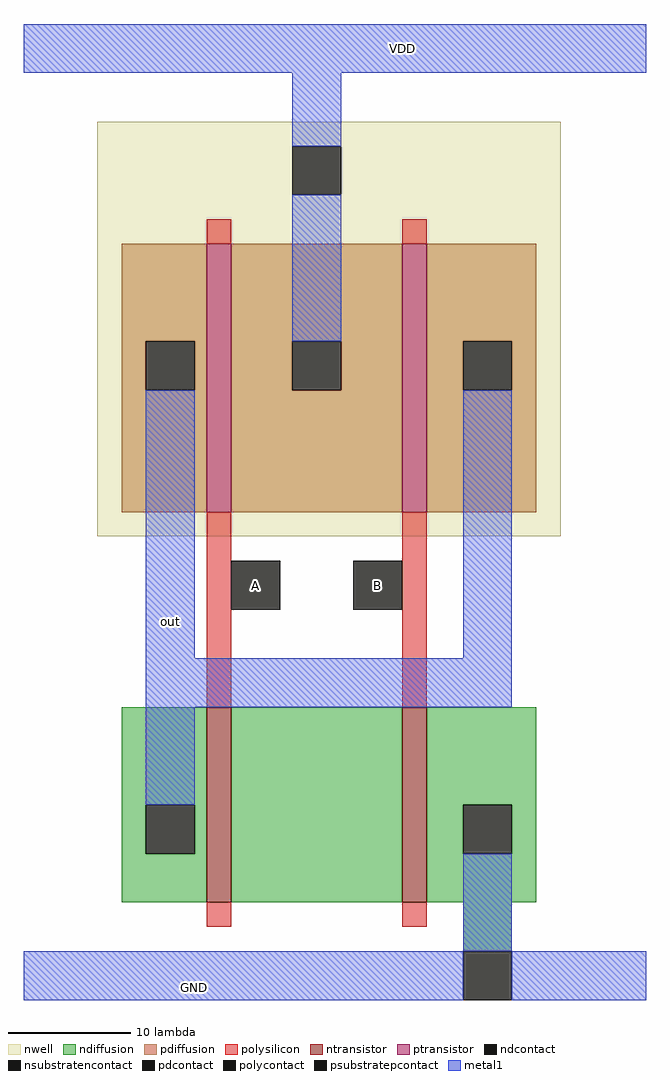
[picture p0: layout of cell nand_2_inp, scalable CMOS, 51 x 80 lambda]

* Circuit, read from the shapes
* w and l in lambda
.subckt nand_2_inp A B GND VDD out
M1 n1 A out GND nfet w=16 l=2
M2 GND B n1 GND nfet w=16 l=2
M3 VDD A out VDD pfet w=22 l=2
M4 out B VDD VDD pfet w=22 l=2
.ends

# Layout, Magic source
magic
tech scmos
<< nwell >>
rect -12 -5 26 29
<< polysilicon >>
rect -3 19 -1 21
rect 13 19 15 21
rect -3 -19 -1 -3
rect 13 -19 15 -3
rect -3 -37 -1 -35
rect 13 -37 15 -35
<< ndiffusion >>
rect -10 -27 -3 -19
rect -10 -31 -8 -27
rect -4 -31 -3 -27
rect -10 -35 -3 -31
rect -1 -35 13 -19
rect 15 -27 24 -19
rect 15 -31 18 -27
rect 22 -31 24 -27
rect 15 -35 24 -31
rect 18 -39 22 -35
<< pdiffusion >>
rect -10 11 -3 19
rect -10 7 -8 11
rect -4 7 -3 11
rect -10 -3 -3 7
rect -1 11 13 19
rect -1 7 4 11
rect 8 7 13 11
rect -1 -3 13 7
rect 15 11 24 19
rect 15 7 18 11
rect 22 7 24 11
rect 15 -3 24 7
<< metal1 >>
rect -18 33 33 37
rect 4 27 8 33
rect 4 11 8 23
rect -8 -15 -4 7
rect 18 -15 22 7
rect -8 -19 22 -15
rect -8 -27 -4 -19
rect 18 -39 22 -31
rect -18 -43 18 -39
rect 22 -43 33 -39
<< ntransistor >>
rect -3 -35 -1 -19
rect 13 -35 15 -19
<< ptransistor >>
rect -3 -3 -1 19
rect 13 -3 15 19
<< polycontact >>
rect -1 -11 3 -7
rect 9 -11 13 -7
<< ndcontact >>
rect -8 -31 -4 -27
rect 18 -31 22 -27
<< pdcontact >>
rect -8 7 -4 11
rect 4 7 8 11
rect 18 7 22 11
<< psubstratepcontact >>
rect 18 -43 22 -39
<< nsubstratencontact >>
rect 4 23 8 27
<< labels >>
rlabel metal1 -6 -12 -6 -12 1 out
rlabel polycontact 1 -9 1 -9 1 A
rlabel polycontact 11 -9 11 -9 1 B
rlabel metal1 13 35 13 35 5 VDD
rlabel metal1 -4 -42 -4 -42 1 GND
<< end >>
